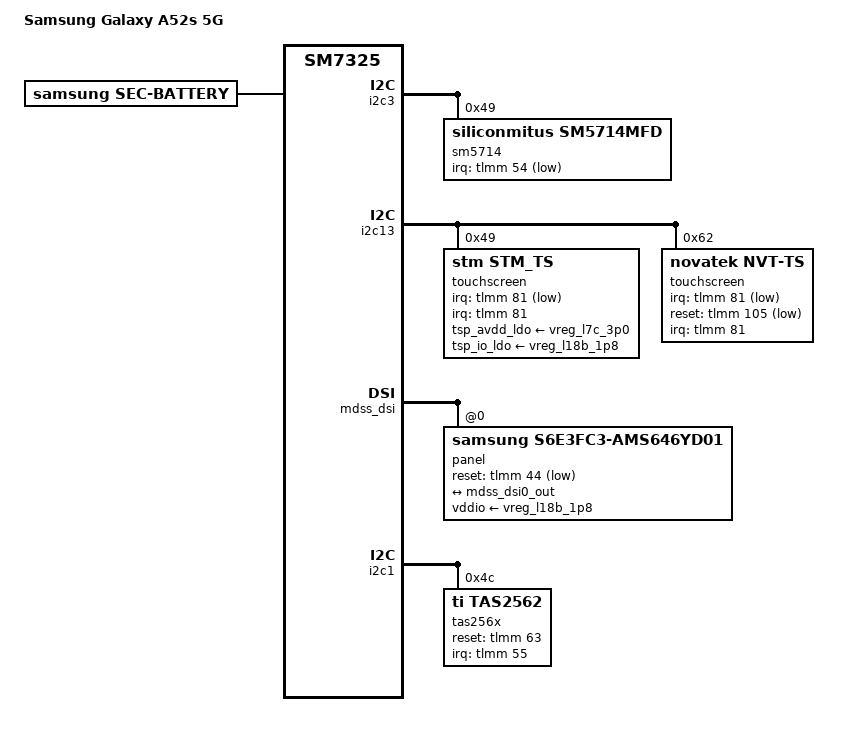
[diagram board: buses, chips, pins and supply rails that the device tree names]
// SPDX-License-Identifier: BSD-3-Clause
/*
 * Copyright (c) 2021, The Linux Foundation. All rights reserved.
 * Copyright (c) 2026, Jiro <ktgithub28@gmail.com>
 *
 * Device Tree for Samsung Galaxy A52s 5G (SM-A528B / a52sxq)
 */

/dts-v1/;

#include "sm7325-samsung-common.dtsi"

/ {
	model = "Samsung Galaxy A52s 5G";
	compatible = "samsung,a52sxq", "qcom,sm7325", "qcom,sc7280";

	smd: samsung-mobile-device {
		compatible = "simple-bus";
		#address-cells = <1>;
		#size-cells = <0>;

		sm5714_charger: sm5714-charger {
			compatible = "samsung,sm5714-charger";
			status = "okay";
		};

		sm5714_fuelgauge: sm5714-fuelgauge {
			compatible = "samsung,sm5714-fuelgauge";
			status = "okay";
			fuelgauge,fuel_alert_soc = <1>;
			fuelgauge,capacity_max = <1000>;
			fuelgauge,capacity_max_margin = <300>;
			fuelgauge,capacity_min = <0>;
			fuelgauge,capacity_calculation_type = <0x1F>;
			fuelgauge,using_temp_compensation;
			fuelgauge,low_temp_limit = <100>;
			fuelgauge,using_hw_vempty;
			fuelgauge,sw_v_empty_voltage = <3200>;
			fuelgauge,sw_v_empty_voltage_cisd = <3100>;
			fuelgauge,sw_v_empty_recover_voltage = <3480>;
			fuelgauge,capacity = <4500>;

			battery_params {
				battery,id = <0>;
				battery0,battery_type = <4430 0x1F20>;
				battery0,battery_table0 = <
					0x1400 0x1B73 0x1C4B 0x1D38 0x1D68 0x1D7A 0x1D88 0x1D8F
					0x1DB4 0x1DEA 0x1E0D 0x1E42 0x1E88 0x1EB4 0x1F01 0x1F3D
					0x1F76 0x1FC7 0x2023 0x207F 0x2116 0x2190 0x2272 0x2400
					>;
				battery0,battery_table1 = <
					0x0000 0x0099 0x0219 0x04B3 0x05CC 0x074C 0x0B80 0x0D19
					0x0FB3 0x14E6 0x1A19 0x1F4C 0x29B3 0x2EE6 0x36B3 0x3BE6
					0x3E80 0x4119 0x464C 0x4B80 0x534C 0x5880 0x6400 0x6419
					>;
				battery0,battery_table2 = <
					0x4B4B 0x4444 0x4040 0x3E3E 0x3C3C 0x3B3B 0x3838 0x3737
					0x3535 0x3434 0x3434 0x3333 0x3333 0x3333 0x3333 0x3232
					>;
				battery0,rs_value = <0x66 0x66 0x3800 0x10A 0x599 0x599 0x70>;
				battery0,v_alarm = <3300 200>;
				battery0,topoff = <650>;
				battery0,i_cal = <1 0x0 0x0800 0x0800 0 0x0 0x0800 0x0830>;
				battery0,v_cal = <1 0x0 0x0 1 0x0 0x0 0x0>;
				battery0,temp_std = <25>;
				battery0,tem_poff = <3400 50 3250 50>;
				battery0,aux_ctrl = <0x322 0x5800>;
				battery0,data_ver = <0x2>;
				battery0,v_max_table = <0x2272 0x2250 0x222E 0x220C 0x21B7>;
				battery0,q_max_table = <0x1F20 0x1E9F 0x1E1E 0x1D9D 0x1C5B>;
			};
		};

		battery: battery {
			compatible = "samsung,sec-battery";
			status = "okay";
			battery,vendor = "Battery";
			battery,technology = <2>;
			battery,chip_vendor = "QCOM";
			battery,batt_data_version = <1>;
			battery,otg_name = "sm5714-otg";
			battery,fuelgauge_name = "sm5714-fuelgauge";
			battery,fgsrc_switch_name = "sm5714-fuelgauge";
			battery,charger_name = "sm5714-charger";
			battery,thermal_source = <2>;
			battery,usb_thermal_source = <4>;
			battery,chg_thermal_source = <2>;
			battery,wpc_thermal_source = <4>;
			battery,polling_time = <10 30 30 30 3600>;
		};
	};
};

&i2c3 {
	status = "okay";

	sm5714: sm5714@49 {
		compatible = "siliconmitus,sm5714mfd";
		reg = <0x49>;
		pinctrl-names = "default";
		pinctrl-0 = <&if_pmic_irq>;
		sm5714,irq-gpio = <&tlmm 54 GPIO_ACTIVE_LOW>;
		sm5714,wakeup;
	};
};

&i2c13 {
	status = "okay";

	touchscreen@49 {
		compatible = "stm,stm_ts";
		reg = <0x49>;
		interrupt-parent = <&tlmm>;
		interrupts = <81 IRQ_TYPE_LEVEL_LOW>;
		pinctrl-names = "on_state", "off_state";
		pinctrl-0 = <&ts_int_active>;
		pinctrl-1 = <&ts_int_suspend>;
		tsp_avdd_ldo-supply = <&vreg_l7c_3p0>;
		tsp_io_ldo-supply = <&vreg_l18b_1p8>;
		sec,irq_gpio = <&tlmm 81 GPIO_ACTIVE_LOW>;
		sec,project_name = "a52sxq", "a52sxq";
		sec,firmware_name = "tsp_stm/fts5cu56a_a52sxq.bin";
		status = "okay";
	};

	touchscreen@62 {
		compatible = "novatek,NVT-ts";
		reg = <0x62>;
		interrupt-parent = <&tlmm>;
		interrupts = <81 IRQ_TYPE_LEVEL_LOW>;
		pinctrl-names = "pmx_ts_active", "pmx_ts_suspend";
		pinctrl-0 = <&ts_int_active &ts_reset_active>;
		pinctrl-1 = <&ts_int_suspend &ts_reset_suspend>;
		novatek,irq-gpio = <&tlmm 81 GPIO_ACTIVE_LOW>;
		novatek,reset-gpio = <&tlmm 105 GPIO_ACTIVE_LOW>;
		status = "okay";
	};
};

&mdss_dsi {
	status = "okay";
	vdda-supply = <&vreg_l6b_1p2>;

	panel@0 {
		compatible = "samsung,s6e3fc3-ams646yd01";
		reg = <0>;

		pinctrl-names = "default";
		pinctrl-0 = <&disp_reset_active>, <&disp_te_active>;

		reset-gpios = <&tlmm 44 GPIO_ACTIVE_LOW>;
		vddio-supply = <&vreg_l18b_1p8>;

		port {
			panel0_in: endpoint {
				remote-endpoint = <&mdss_dsi0_out>;
			};
		};
	};
};

&mdss_dsi0_out {
	remote-endpoint = <&panel0_in>;
	data-lanes = <0 1 2 3>;
};

&i2c1 {
	status = "okay";

	tas256x: tas256x@4c {
		compatible = "ti,tas2562";
		reg = <0x4c>;
		#sound-dai-cells = <0>;
		pinctrl-names = "default";
		pinctrl-0 = <&amp_default>;
		ti,reset-gpio = <&tlmm 63 GPIO_ACTIVE_HIGH>;
		ti,irq-gpio = <&tlmm 55 GPIO_ACTIVE_HIGH>;
		status = "okay";
	};
};

